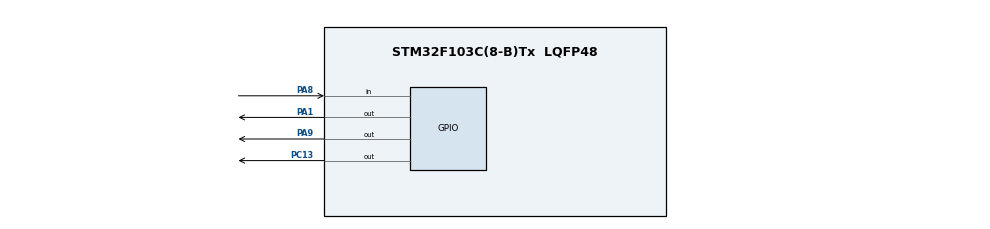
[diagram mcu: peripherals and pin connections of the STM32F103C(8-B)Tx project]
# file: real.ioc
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Mcu.Family=STM32F1
Mcu.Name=STM32F103C(8-B)Tx
Mcu.Package=LQFP48
NVIC.PriorityGroup=NVIC_PRIORITYGROUP_4
PA1.Signal=GPIO_Output
PA13.Mode=Serial_Wire
PA13.Signal=SYS_JTMS-SWDIO
PA14.Mode=Serial_Wire
PA14.Signal=SYS_JTCK-SWCLK
PA8.Signal=GPIO_Input
PA9.Signal=GPIO_Output
PC13-TAMPER-RTC.Signal=GPIO_Output
PD0-OSC_IN.Mode=HSE-External-Oscillator
PD0-OSC_IN.Signal=RCC_OSC_IN
PD1-OSC_OUT.Mode=HSE-External-Oscillator
PD1-OSC_OUT.Signal=RCC_OSC_OUT
ProjectManager.HeapSize=0x200
ProjectManager.StackSize=0x400
ProjectManager.TargetToolchain=STM32CubeIDE
RCC.APB1Freq_Value=8000000
RCC.APB2Freq_Value=8000000
board=custom

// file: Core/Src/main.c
/* USER CODE BEGIN Header */
/**
  ******************************************************************************
  * @file           : main.c
  * @brief          : Main program body
  ******************************************************************************
  * @attention
  *
  * Copyright (c) 2026 STMicroelectronics.
  * All rights reserved.
  *
  * This software is licensed under terms that can be found in the LICENSE file
  * in the root directory of this software component.
  * If no LICENSE file comes with this software, it is provided AS-IS.
  *
  ******************************************************************************
  */
/* USER CODE END Header */
#include "main.h"
#include "gpio.h"

void SystemClock_Config(void);

int main(void)
{

  /* MCU Configuration--------------------------------------------------------*/

  /* Reset of all peripherals, Initializes the Flash interface and the Systick. */
  HAL_Init();

  /* Configure the system clock */
  SystemClock_Config();

  /* Initialize all configured peripherals */
  MX_GPIO_Init();
  /* USER CODE BEGIN 2 */
  uint32_t lastTickC13 = 0;
  uint32_t lastTickA9  = 0;

  uint8_t pc13High = 0;
  uint8_t syncActive = 0;
  uint8_t pulseCount = 0;
  uint8_t highHandled = 0;
  /* USER CODE END 2 */

  /* Infinite loop */
  /* USER CODE BEGIN WHILE */
  while (1)
  {
	  uint32_t now = HAL_GetTick();

	      /* 1 Hz on PC13 */

	      /* 1 Hz PULSE on PC13 (HIGH for 10ms, LOW for 990ms) */
	          if (!pc13High)
	          {
	              /* Start of pulse: go HIGH */
	              if ((now - lastTickC13) >= 1000)
	              {
	                  lastTickC13 = now;
	                  HAL_GPIO_WritePin(GPIOC, GPIO_PIN_13, GPIO_PIN_SET);
	                  pc13High = 1;
	              }
	          }
	          else
	          {
	              /* End of pulse: go LOW after 10 ms */
	              if ((now - lastTickC13) >= 10)
	              {
	                  lastTickC13 = now;
	                  HAL_GPIO_WritePin(GPIOC, GPIO_PIN_13, GPIO_PIN_RESET);
	                  pc13High = 0;
	              }
	          }

	          /* Level-high detection on PA8 */
	             GPIO_PinState currPA8 = HAL_GPIO_ReadPin(GPIOA, GPIO_PIN_8);

	             if ((currPA8 == GPIO_PIN_SET) && (highHandled == 0))
	             {
	                 highHandled = 1;
	                 syncActive = 1;
	                 pulseCount = 0;
	                 lastTickA9 = now;
	                 HAL_GPIO_WritePin(GPIOA, GPIO_PIN_9, GPIO_PIN_RESET);
	                 HAL_GPIO_TogglePin(GPIOA, GPIO_PIN_1);   // debug
	             }

	             if (currPA8 == GPIO_PIN_RESET)
	             {
	                 highHandled = 0;
	             }

	             /* 8 Hz burst on PA9 */
	             if (syncActive)
	             {
	                 if ((now - lastTickA9) >= 62)
	                 {
	                     lastTickA9 = now;
	                     HAL_GPIO_TogglePin(GPIOA, GPIO_PIN_9);
	                     pulseCount++;

	                     if (pulseCount >= 16)
	                     {
	                         syncActive = 0;
	                         HAL_GPIO_WritePin(GPIOA, GPIO_PIN_9, GPIO_PIN_RESET);
	                     }
	                 }
	             }
  }

    /* USER CODE END WHILE */

  }
}

void SystemClock_Config(void)
{
  RCC_OscInitTypeDef RCC_OscInitStruct = {0};
  RCC_ClkInitTypeDef RCC_ClkInitStruct = {0};

  /** Initializes the RCC Oscillators according to the specified parameters
  * in the RCC_OscInitTypeDef structure.
  */
  RCC_OscInitStruct.OscillatorType = RCC_OSCILLATORTYPE_HSI;
  RCC_OscInitStruct.HSIState = RCC_HSI_ON;
  RCC_OscInitStruct.HSICalibrationValue = RCC_HSICALIBRATION_DEFAULT;
  RCC_OscInitStruct.PLL.PLLState = RCC_PLL_NONE;
  if (HAL_RCC_OscConfig(&RCC_OscInitStruct) != HAL_OK)
  {
    Error_Handler();
  }

  /** Initializes the CPU, AHB and APB buses clocks
  */
  RCC_ClkInitStruct.ClockType = RCC_CLOCKTYPE_HCLK|RCC_CLOCKTYPE_SYSCLK
                              |RCC_CLOCKTYPE_PCLK1|RCC_CLOCKTYPE_PCLK2;
  RCC_ClkInitStruct.SYSCLKSource = RCC_SYSCLKSOURCE_HSI;
  RCC_ClkInitStruct.AHBCLKDivider = RCC_SYSCLK_DIV1;
  RCC_ClkInitStruct.APB1CLKDivider = RCC_HCLK_DIV1;
  RCC_ClkInitStruct.APB2CLKDivider = RCC_HCLK_DIV1;

  if (HAL_RCC_ClockConfig(&RCC_ClkInitStruct, FLASH_LATENCY_0) != HAL_OK)
  {
    Error_Handler();
  }
}

void Error_Handler(void)
{
  __disable_irq();
  while (1)
  {
  }
}
